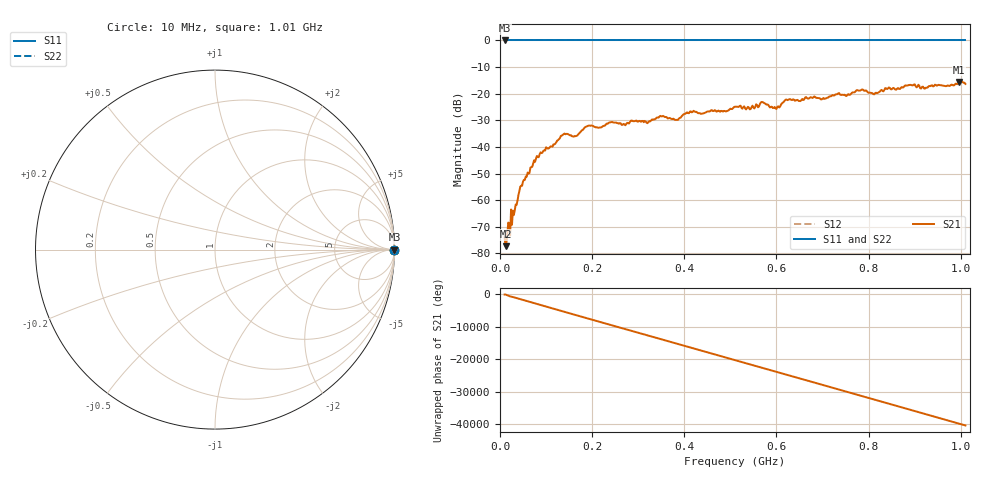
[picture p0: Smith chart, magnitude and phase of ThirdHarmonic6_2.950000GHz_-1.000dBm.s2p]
! 8/17/2025 8:17:40 AM
! C:\ANRITSUVNA\TEMP\TEMP.S2P
! CHANNEL.1
! TR.MEASUREMENT
! RAW.DATA
! RF.CORRECTION.OFF
! AVERAGING.OFF
! IF.BANDWIDTH: 5KHZ
! SWEEPTYPE:  FREQ.SWEEP(Linear)
! Reference Plane Port Info
! PORT:  PORT1  PORT2
! DISTANCE:  0  m  0  m
! TIME:  0  s  0  s
! PHASE.OFFSET:  0  deg.  0  deg.
! LOSS:  0  dB  0  dB
! REF.LOSS:  0  dB  0  dB
! REF.FREQ:  0  Hz  0  Hz
! Power Info
! POWER:  -20  dBm  -20  dBm
! EFF.POWER:  -20  dBm  -20  dBm
! SOURCE.ATTEN:  0  dB  0  dB
! TEST.ATTEN:  0  dB  0  dB
# GHZ S RI R 50.0
! FREQ.GHZ  S11RE  S11IM  S21RE  S21IM  S12RE  S12IM  S22RE  S22IM
!; PortSelection: Port_12
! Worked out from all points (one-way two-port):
!   501 points, 10 MHz to 1.01 GHz, reference 50 ohm
!   highest |S21| = -15.55 dB at 996 MHz (marker M1); lowest = -77.3 dB at 12 MHz (marker M2)
!   lowest |S11| = 0.0 dB at 10 MHz (marker M3)
!   |S11| at or under -10 dB: nowhere
!   |S22| runs from 0.0 to 0.0 dB; largest |S21 - S12| = 1.2
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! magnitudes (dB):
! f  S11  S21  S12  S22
! 10 MHz  0.0  -73.8  0.0  0.0
! 12 MHz  0.0  -77.3  0.0  0.0
! 46 MHz  0.0  -54.6  0.0  0.0
! 78 MHz  0.0  -44.4  0.0  0.0
! 136 MHz  0.0  -35.5  0.0  0.0
! 164 MHz  0.0  -35.9  0.0  0.0
! 178 MHz  0.0  -33.7  0.0  0.0
! 194 MHz  0.0  -32.0  0.0  0.0
! 322 MHz  0.0  -30.6  0.0  0.0
! 344 MHz  0.0  -29.0  0.0  0.0
! 382 MHz  0.0  -29.8  0.0  0.0
! 416 MHz  0.0  -27.0  0.0  0.0
! 510 MHz  0.0  -24.9  0.0  0.0
! 546 MHz  0.0  -25.1  0.0  0.0
! 570 MHz  0.0  -23.2  0.0  0.0
! 596 MHz  0.0  -25.0  0.0  0.0
! 624 MHz  0.0  -22.4  0.0  0.0
! 678 MHz  0.0  -21.6  0.0  0.0
! 814 MHz  0.0  -19.8  0.0  0.0
! 844 MHz  0.0  -17.6  0.0  0.0
! 996 MHz  0.0  -15.6  0.0  0.0
! 1.01 GHz  0.0  -16.3  0.0  0.0
